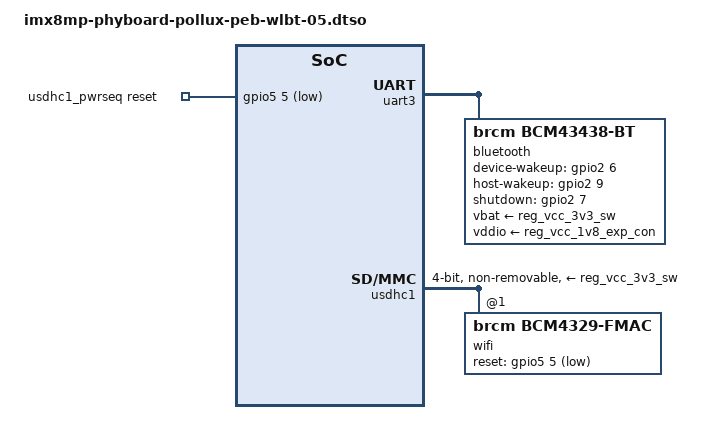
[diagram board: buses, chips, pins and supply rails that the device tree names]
// SPDX-License-Identifier: GPL-2.0-or-later OR MIT
/*
 * Copyright (C) 2025 PHYTEC Messtechnik GmbH
 */

#include <dt-bindings/clock/imx8mp-clock.h>
#include <dt-bindings/gpio/gpio.h>
#include <dt-bindings/interrupt-controller/irq.h>
#include "imx8mp-pinfunc.h"

/dts-v1/;
/plugin/;

&{/} {
	wlbt_clock: clock-32768 {
		compatible = "fixed-clock";
		clock-accuracy = <20000>;
		clock-frequency = <32768>;
		clock-output-names = "WIFIBT_SLOW_CLK";
		#clock-cells = <0>;
	};

	usdhc1_pwrseq: pwr-seq {
		compatible = "mmc-pwrseq-simple";
		post-power-on-delay-ms = <250>;
		reset-gpios = <&gpio5 5 GPIO_ACTIVE_LOW>;
	};
};

&iomuxc {
	pinctrl_uart3: uart3grp {
		fsl,pins = <
			MX8MP_IOMUXC_SD1_RESET_B__UART3_DCE_RTS	0x140	/* RTS */
			MX8MP_IOMUXC_SD1_STROBE__UART3_DCE_CTS	0x140	/* CTS */
			MX8MP_IOMUXC_UART3_RXD__UART3_DCE_RX	0x140	/* RX */
			MX8MP_IOMUXC_UART3_TXD__UART3_DCE_TX	0x140	/* TX */
		>;
	};

	pinctrl_bluetooth: bluetoothgrp {
		fsl,pins = <
			MX8MP_IOMUXC_SD1_DATA4__GPIO2_IO06	0x106	/* BT_DEV_WAKE_EXP */
			MX8MP_IOMUXC_SD1_DATA5__GPIO2_IO07	0x106	/* BT_REG_ON_EXP */
			MX8MP_IOMUXC_SD1_DATA7__GPIO2_IO09	0x106	/* BT_HOST_WAKE_EXP */
		>;
	};

	pinctrl_usdhc1: usdhc1grp {
		fsl,pins = <
			MX8MP_IOMUXC_SD1_CLK__USDHC1_CLK	0x190	/* SDIO_CLK */
			MX8MP_IOMUXC_SD1_CMD__USDHC1_CMD	0x1d0	/* SDIO_CMD */
			MX8MP_IOMUXC_SD1_DATA0__USDHC1_DATA0	0x1d0	/* SDIO_D0 */
			MX8MP_IOMUXC_SD1_DATA1__USDHC1_DATA1	0x1d0	/* SDIO_D1 */
			MX8MP_IOMUXC_SD1_DATA2__USDHC1_DATA2	0x1d0	/* SDIO_D2 */
			MX8MP_IOMUXC_SD1_DATA3__USDHC1_DATA3	0x1d0	/* SDIO_D3 */
		>;
	};

	pinctrl_wifi: wifigrp {
		fsl,pins = <
			MX8MP_IOMUXC_SPDIF_EXT_CLK__GPIO5_IO05	0x106	/* WL_REG_ON_EXP */
		>;
	};
};

&uart3 {
	assigned-clocks = <&clk IMX8MP_CLK_UART3>;
	assigned-clock-parents = <&clk IMX8MP_SYS_PLL1_80M>;
	pinctrl-0 = <&pinctrl_uart3>;
	pinctrl-names = "default";
	uart-has-rtscts;
	status = "okay";

	bluetooth {
		compatible = "brcm,bcm43438-bt";
		pinctrl-0 = <&pinctrl_bluetooth>;
		pinctrl-names = "default";
		clock-names = "lpo";
		clocks = <&wlbt_clock>;
		device-wakeup-gpios = <&gpio2 6 GPIO_ACTIVE_HIGH>;
		host-wakeup-gpios = <&gpio2 9 GPIO_ACTIVE_HIGH>;
		max-speed = <3000000>;
		shutdown-gpios = <&gpio2 7 GPIO_ACTIVE_HIGH>;
		vbat-supply = <&reg_vcc_3v3_sw>;
		vddio-supply = <&reg_vcc_1v8_exp_con>;
	};
};

&usdhc1 {
	#address-cells = <1>;
	#size-cells = <0>;
	pinctrl-0 = <&pinctrl_usdhc1>;
	pinctrl-names = "default";
	bus-width = <4>;
	max-frequency = <50000000>;
	mmc-pwrseq = <&usdhc1_pwrseq>;
	non-removable;
	vmmc-supply = <&reg_vcc_3v3_sw>;
	status = "okay";

	wifi@1 {
		compatible = "brcm,bcm4329-fmac";
		reg = <1>;
		pinctrl-0 = <&pinctrl_wifi>;
		pinctrl-names = "default";
		reset-gpios = <&gpio5 5 GPIO_ACTIVE_LOW>;
	};
};
